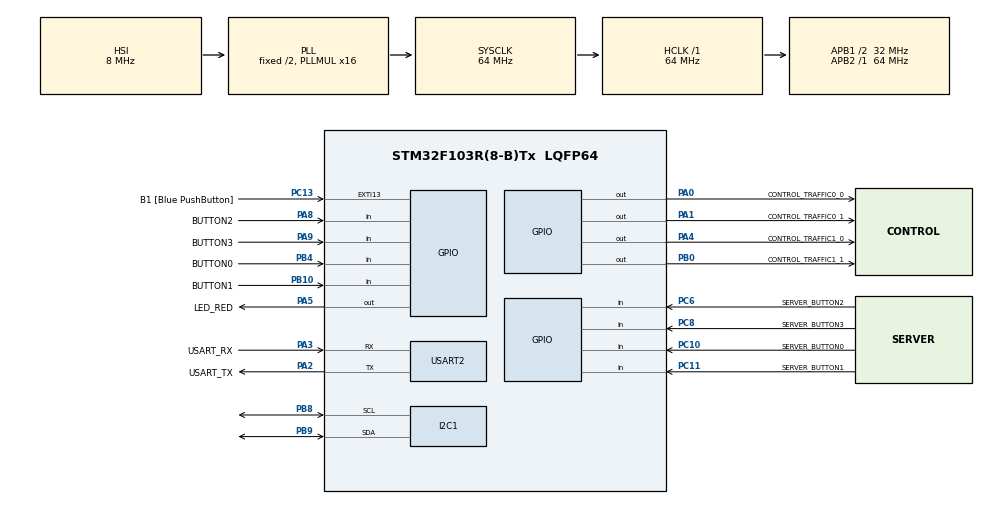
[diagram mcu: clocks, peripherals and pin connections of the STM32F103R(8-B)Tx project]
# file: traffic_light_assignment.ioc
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Mcu.Family=STM32F1
Mcu.Name=STM32F103R(8-B)Tx
Mcu.Package=LQFP64
NVIC.EXTI15_10_IRQn=true\:0\:0\:false\:false\:true\:true\:true\:true
NVIC.PriorityGroup=NVIC_PRIORITYGROUP_4
NVIC.TIM2_IRQn=true\:0\:0\:false\:false\:true\:true\:true\:true
PA0-WKUP.GPIO_Label=CONTROL_TRAFFIC0_0
PA0-WKUP.Signal=GPIO_Output
PA1.GPIO_Label=CONTROL_TRAFFIC0_1
PA1.Signal=GPIO_Output
PA13.GPIO_Label=TMS
PA13.Mode=Serial_Wire
PA13.Signal=SYS_JTMS-SWDIO
PA14.GPIO_Label=TCK
PA14.Mode=Serial_Wire
PA14.Signal=SYS_JTCK-SWCLK
PA2.GPIO_Label=USART_TX
PA2.GPIO_Mode=GPIO_MODE_AF_PP
PA2.GPIO_PuPd=GPIO_NOPULL
PA2.GPIO_Speed=GPIO_SPEED_FREQ_LOW
PA2.Mode=Asynchronous
PA2.Signal=USART2_TX
PA3.GPIO_Label=USART_RX
PA3.GPIO_Mode=GPIO_MODE_AF_PP
PA3.GPIO_PuPd=GPIO_NOPULL
PA3.GPIO_Speed=GPIO_SPEED_FREQ_LOW
PA3.Mode=Asynchronous
PA3.Signal=USART2_RX
PA4.GPIO_Label=CONTROL_TRAFFIC1_0
PA4.Signal=GPIO_Output
PA5.GPIO_Label=LED_RED
PA5.GPIO_ModeDefaultOutputPP=GPIO_MODE_OUTPUT_PP
PA5.GPIO_PuPd=GPIO_NOPULL
PA5.GPIO_Speed=GPIO_SPEED_FREQ_LOW
PA5.Signal=GPIO_Output
PA8.GPIO_Label=BUTTON2
PA8.GPIO_PuPd=GPIO_PULLUP
PA8.Signal=GPIO_Input
PA9.GPIO_Label=BUTTON3
PA9.GPIO_PuPd=GPIO_PULLUP
PA9.Signal=GPIO_Input
PB0.GPIO_Label=CONTROL_TRAFFIC1_1
PB0.Signal=GPIO_Output
PB10.GPIO_Label=BUTTON1
PB10.GPIO_PuPd=GPIO_PULLUP
PB10.Signal=GPIO_Input
PB3.GPIO_Label=SWO
PB3.Signal=SYS_JTDO-TRACESWO
PB4.GPIO_Label=BUTTON0
PB4.GPIO_PuPd=GPIO_PULLUP
PB4.Signal=GPIO_Input
PB8.Mode=I2C
PB8.Signal=I2C1_SCL
PB9.Mode=I2C
PB9.Signal=I2C1_SDA
PC10.GPIO_Label=SERVER_BUTTON0
PC10.GPIO_PuPd=GPIO_PULLUP
PC10.Signal=GPIO_Input
PC11.GPIO_Label=SERVER_BUTTON1
PC11.GPIO_PuPd=GPIO_PULLUP
PC11.Signal=GPIO_Input
PC13-TAMPER-RTC.GPIO_Label=B1 [Blue PushButton]
PC13-TAMPER-RTC.GPIO_PuPd=GPIO_NOPULL
PC13-TAMPER-RTC.Signal=GPXTI13
PC14-OSC32_IN.Mode=LSE-External-Oscillator
PC14-OSC32_IN.Signal=RCC_OSC32_IN
PC15-OSC32_OUT.Mode=LSE-External-Oscillator
PC15-OSC32_OUT.Signal=RCC_OSC32_OUT
PC6.GPIO_Label=SERVER_BUTTON2
PC6.GPIO_PuPd=GPIO_PULLUP
PC6.Signal=GPIO_Input
PC8.GPIO_Label=SERVER_BUTTON3
PC8.GPIO_PuPd=GPIO_PULLUP
PC8.Signal=GPIO_Input
PD0-OSC_IN.Mode=HSE-External-Clock-Source
PD0-OSC_IN.Signal=RCC_OSC_IN
PD1-OSC_OUT.Mode=HSE-External-Clock-Source
PD1-OSC_OUT.Signal=RCC_OSC_OUT
ProjectManager.HeapSize=0x200
ProjectManager.StackSize=0x400
ProjectManager.TargetToolchain=STM32CubeIDE
RCC.AHBFreq_Value=64000000
RCC.APB1CLKDivider=RCC_HCLK_DIV2
RCC.APB1Freq_Value=32000000
RCC.APB1TimFreq_Value=64000000
RCC.APB2Freq_Value=64000000
RCC.APB2TimFreq_Value=64000000
RCC.HCLKFreq_Value=64000000
RCC.PLLMUL=RCC_PLL_MUL16
RCC.RTCClockSelection=RCC_RTCCLKSOURCE_LSE
RCC.SYSCLKFreq_VALUE=64000000
RCC.SYSCLKSource=RCC_SYSCLKSOURCE_PLLCLK
RCC.USBFreq_Value=64000000
TIM2.Prescaler=9
USART2.VirtualMode=VM_ASYNC
VP_TIM2_VS_ClockSourceINT.Mode=Internal
board=NUCLEO-F103RB

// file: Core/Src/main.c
/* USER CODE BEGIN Header */
/**
  ******************************************************************************
  * @file           : main.c
  * @brief          : Main program body
  ******************************************************************************
  * @attention
  *
  * Copyright (c) 2024 STMicroelectronics.
  * All rights reserved.
  *
  * This software is licensed under terms that can be found in the LICENSE file
  * in the root directory of this software component.
  * If no LICENSE file comes with this software, it is provided AS-IS.
  *
  ******************************************************************************
  */
/* USER CODE END Header */
#include "main.h"

/* USER CODE BEGIN Includes */
#include <stdint.h>
#include <stdio.h>
#include "button.h"
#include "fsm.h"
#include "scheduler.h"
#include "test_module.h"
#include "i2c-lcd.h"
#include "server_button.h"
/* USER CODE END Includes */

I2C_HandleTypeDef hi2c1;

TIM_HandleTypeDef htim2;

UART_HandleTypeDef huart2;

void SystemClock_Config(void);
static void MX_GPIO_Init(void);
static void MX_USART2_UART_Init(void);
static void MX_TIM2_Init(void);
static void MX_I2C1_Init(void);

int main(void)
{

  /* MCU Configuration--------------------------------------------------------*/

  /* Reset of all peripherals, Initializes the Flash interface and the Systick. */
  HAL_Init();

  /* Configure the system clock */
  SystemClock_Config();

  /* Initialize all configured peripherals */
  MX_GPIO_Init();
  MX_USART2_UART_Init();
  MX_TIM2_Init();
  MX_I2C1_Init();
  /* USER CODE BEGIN 2 */
  HAL_TIM_Base_Start_IT(&htim2);
  SCH_Init();
  /* USER CODE END 2 */

  /* Infinite loop */
  /* USER CODE BEGIN WHILE */
  SCH_AddTask(testMCU, 0, 500);
  SCH_AddTask(buttonReading, 0, TIMER_TICK);
  SCH_AddTask(server_button_reading, 0, TIMER_TICK);
  SCH_AddTask(fsmInit, 0, 0);
  SCH_AddTask(LCD_I2C_Init, 0, 0);
  SCH_AddTask(fsmProcessing, 10, TIMER_TICK);

  while (1)
  {
	  SCH_Dispatch();
    /* USER CODE END WHILE */

  }
}

void SystemClock_Config(void)
{
  RCC_OscInitTypeDef RCC_OscInitStruct = {0};
  RCC_ClkInitTypeDef RCC_ClkInitStruct = {0};

  /** Initializes the RCC Oscillators according to the specified parameters
  * in the RCC_OscInitTypeDef structure.
  */
  RCC_OscInitStruct.OscillatorType = RCC_OSCILLATORTYPE_HSI;
  RCC_OscInitStruct.HSIState = RCC_HSI_ON;
  RCC_OscInitStruct.HSICalibrationValue = RCC_HSICALIBRATION_DEFAULT;
  RCC_OscInitStruct.PLL.PLLState = RCC_PLL_ON;
  RCC_OscInitStruct.PLL.PLLSource = RCC_PLLSOURCE_HSI_DIV2;
  RCC_OscInitStruct.PLL.PLLMUL = RCC_PLL_MUL16;
  if (HAL_RCC_OscConfig(&RCC_OscInitStruct) != HAL_OK)
  {
    Error_Handler();
  }

  /** Initializes the CPU, AHB and APB buses clocks
  */
  RCC_ClkInitStruct.ClockType = RCC_CLOCKTYPE_HCLK|RCC_CLOCKTYPE_SYSCLK
                              |RCC_CLOCKTYPE_PCLK1|RCC_CLOCKTYPE_PCLK2;
  RCC_ClkInitStruct.SYSCLKSource = RCC_SYSCLKSOURCE_PLLCLK;
  RCC_ClkInitStruct.AHBCLKDivider = RCC_SYSCLK_DIV1;
  RCC_ClkInitStruct.APB1CLKDivider = RCC_HCLK_DIV2;
  RCC_ClkInitStruct.APB2CLKDivider = RCC_HCLK_DIV1;

  if (HAL_RCC_ClockConfig(&RCC_ClkInitStruct, FLASH_LATENCY_2) != HAL_OK)
  {
    Error_Handler();
  }
}

static void MX_I2C1_Init(void)
{

  hi2c1.Instance = I2C1;
  hi2c1.Init.ClockSpeed = 100000;
  hi2c1.Init.DutyCycle = I2C_DUTYCYCLE_2;
  hi2c1.Init.OwnAddress1 = 0;
  hi2c1.Init.AddressingMode = I2C_ADDRESSINGMODE_7BIT;
  hi2c1.Init.DualAddressMode = I2C_DUALADDRESS_DISABLE;
  hi2c1.Init.OwnAddress2 = 0;
  hi2c1.Init.GeneralCallMode = I2C_GENERALCALL_DISABLE;
  hi2c1.Init.NoStretchMode = I2C_NOSTRETCH_DISABLE;
  if (HAL_I2C_Init(&hi2c1) != HAL_OK)
  {
    Error_Handler();
  }

}

static void MX_TIM2_Init(void)
{

  TIM_ClockConfigTypeDef sClockSourceConfig = {0};
  TIM_MasterConfigTypeDef sMasterConfig = {0};

  htim2.Instance = TIM2;
  htim2.Init.Prescaler = 9;
  htim2.Init.CounterMode = TIM_COUNTERMODE_UP;
  htim2.Init.Period = 65535;
  htim2.Init.ClockDivision = TIM_CLOCKDIVISION_DIV1;
  htim2.Init.AutoReloadPreload = TIM_AUTORELOAD_PRELOAD_DISABLE;
  if (HAL_TIM_Base_Init(&htim2) != HAL_OK)
  {
    Error_Handler();
  }
  sClockSourceConfig.ClockSource = TIM_CLOCKSOURCE_INTERNAL;
  if (HAL_TIM_ConfigClockSource(&htim2, &sClockSourceConfig) != HAL_OK)
  {
    Error_Handler();
  }
  sMasterConfig.MasterOutputTrigger = TIM_TRGO_RESET;
  sMasterConfig.MasterSlaveMode = TIM_MASTERSLAVEMODE_DISABLE;
  if (HAL_TIMEx_MasterConfigSynchronization(&htim2, &sMasterConfig) != HAL_OK)
  {
    Error_Handler();
  }

}

static void MX_USART2_UART_Init(void)
{

  huart2.Instance = USART2;
  huart2.Init.BaudRate = 115200;
  huart2.Init.WordLength = UART_WORDLENGTH_8B;
  huart2.Init.StopBits = UART_STOPBITS_1;
  huart2.Init.Parity = UART_PARITY_NONE;
  huart2.Init.Mode = UART_MODE_TX_RX;
  huart2.Init.HwFlowCtl = UART_HWCONTROL_NONE;
  huart2.Init.OverSampling = UART_OVERSAMPLING_16;
  if (HAL_UART_Init(&huart2) != HAL_OK)
  {
    Error_Handler();
  }

}

static void MX_GPIO_Init(void)
{
  GPIO_InitTypeDef GPIO_InitStruct = {0};

  /* GPIO Ports Clock Enable */
  __HAL_RCC_GPIOC_CLK_ENABLE();
  __HAL_RCC_GPIOD_CLK_ENABLE();
  __HAL_RCC_GPIOA_CLK_ENABLE();
  __HAL_RCC_GPIOB_CLK_ENABLE();

  /*Configure GPIO pin Output Level */
  HAL_GPIO_WritePin(GPIOA, CONTROL_TRAFFIC0_0_Pin|CONTROL_TRAFFIC0_1_Pin|CONTROL_TRAFFIC1_0_Pin|LED_RED_Pin, GPIO_PIN_RESET);

  /*Configure GPIO pin Output Level */
  HAL_GPIO_WritePin(CONTROL_TRAFFIC1_1_GPIO_Port, CONTROL_TRAFFIC1_1_Pin, GPIO_PIN_RESET);

  /*Configure GPIO pin : B1_Pin */
  GPIO_InitStruct.Pin = B1_Pin;
  GPIO_InitStruct.Mode = GPIO_MODE_IT_RISING;
  GPIO_InitStruct.Pull = GPIO_NOPULL;
  HAL_GPIO_Init(B1_GPIO_Port, &GPIO_InitStruct);

  /*Configure GPIO pins : CONTROL_TRAFFIC0_0_Pin CONTROL_TRAFFIC0_1_Pin CONTROL_TRAFFIC1_0_Pin LED_RED_Pin */
  GPIO_InitStruct.Pin = CONTROL_TRAFFIC0_0_Pin|CONTROL_TRAFFIC0_1_Pin|CONTROL_TRAFFIC1_0_Pin|LED_RED_Pin;
  GPIO_InitStruct.Mode = GPIO_MODE_OUTPUT_PP;
  GPIO_InitStruct.Pull = GPIO_NOPULL;
  GPIO_InitStruct.Speed = GPIO_SPEED_FREQ_LOW;
  HAL_GPIO_Init(GPIOA, &GPIO_InitStruct);

  /*Configure GPIO pin : CONTROL_TRAFFIC1_1_Pin */
  GPIO_InitStruct.Pin = CONTROL_TRAFFIC1_1_Pin;
  GPIO_InitStruct.Mode = GPIO_MODE_OUTPUT_PP;
  GPIO_InitStruct.Pull = GPIO_NOPULL;
  GPIO_InitStruct.Speed = GPIO_SPEED_FREQ_LOW;
  HAL_GPIO_Init(CONTROL_TRAFFIC1_1_GPIO_Port, &GPIO_InitStruct);

  /*Configure GPIO pins : BUTTON1_Pin BUTTON0_Pin */
  GPIO_InitStruct.Pin = BUTTON1_Pin|BUTTON0_Pin;
  GPIO_InitStruct.Mode = GPIO_MODE_INPUT;
  GPIO_InitStruct.Pull = GPIO_PULLUP;
  HAL_GPIO_Init(GPIOB, &GPIO_InitStruct);

  /*Configure GPIO pins : SERVER_BUTTON2_Pin SERVER_BUTTON3_Pin SERVER_BUTTON0_Pin SERVER_BUTTON1_Pin */
  GPIO_InitStruct.Pin = SERVER_BUTTON2_Pin|SERVER_BUTTON3_Pin|SERVER_BUTTON0_Pin|SERVER_BUTTON1_Pin;
  GPIO_InitStruct.Mode = GPIO_MODE_INPUT;
  GPIO_InitStruct.Pull = GPIO_PULLUP;
  HAL_GPIO_Init(GPIOC, &GPIO_InitStruct);

  /*Configure GPIO pins : BUTTON2_Pin BUTTON3_Pin */
  GPIO_InitStruct.Pin = BUTTON2_Pin|BUTTON3_Pin;
  GPIO_InitStruct.Mode = GPIO_MODE_INPUT;
  GPIO_InitStruct.Pull = GPIO_PULLUP;
  HAL_GPIO_Init(GPIOA, &GPIO_InitStruct);

  /* EXTI interrupt init*/
  HAL_NVIC_SetPriority(EXTI15_10_IRQn, 0, 0);
  HAL_NVIC_EnableIRQ(EXTI15_10_IRQn);

}

/* USER CODE BEGIN 4 */
void HAL_TIM_PeriodElapsedCallback(TIM_HandleTypeDef *htim) {
	if (htim->Instance == TIM2) {
		SCH_Update();
	}
}
/* USER CODE END 4 */

void Error_Handler(void)
{
  __disable_irq();
  while (1)
  {
  }
}
